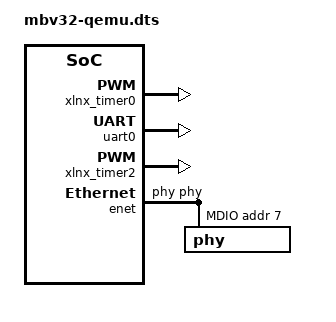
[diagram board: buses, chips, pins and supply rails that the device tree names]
// SPDX-License-Identifier: GPL-2.0
/*
 * dts file for AMD MicroBlaze V
 *
 * (C) Copyright 2024 - 2025, Advanced Micro Devices, Inc.
 *
 * Michal Simek <michal.simek@amd.com>
 */

/dts-v1/;

/ {
	cpus: cpus {
		#address-cells = <1>;
		#size-cells = <0>;
		#cpus = <1>;

		cpu_0: cpu@0 {
			compatible = "rv32-riscv-cpu";
			interrupt-controller;
			#interrupt-cells = <1>;
			reg = <0>;
			i = <1>;
			m = <1>;
			a = <1>;
			f = <1>;
			c = <1>;
			d = <0>;
			h = <0>;
			mmu = <1>;
		};
	};

	qemu_sysmem {
		#address-cells = <2>;
		#size-cells = <2>;
		compatible = "qemu:system-memory";
		interrupt-parent = <&axi_intc>;

		ram@0 {
			compatible = "qemu:memory-region";
			qemu,ram = <1>;
			reg = <0 0 0 0x8000>;
		};

		ddr@80000000 {
			compatible = "qemu:memory-region";
			qemu,ram = <1>;
			reg = <0 0x80000000 0 0x80000000>;
		};

		axi_intc: interrupt-controller@41200000 {
			compatible = "xlnx.xps-intc";
			reg = <0 0x41200000 0 0x1000>;
			interrupt-controller;
			#interrupt-cells = <2>;
			interrupts-extended = <&cpu_0 11>;
			kind-of-intr = <0x1a>;
			interrupt-names = "Outputs";
		};

		xlnx_timer0: timer@41c00000 {
			compatible = "xlnx.xps-timer";
			reg = <0 0x41c00000 0 0x1000>;
			interrupts = <0 2>;
			clock-frequency = <100000000>;
		};

		uart0: serial@40600000  {
			compatible = "xlnx,xps-uartlite";
			reg = <0 0x40600000 0 0x1000>;
			chardev = "serial0";
			interrupts = <1 2>;
		};

		xlnx_timer2: timer@41c10000 {
			compatible = "xlnx.xps-timer";
			reg = <0 0x41c10000 0 0x1000>;
			interrupts = <6 2>;
			clock-frequency = <100000000>;
		};


		enet: ethernet@40c00000 {
			axistream-connected = <&dma>;
			axistream-control-connected = <&dma>;
			compatible = "xlnx,axi-ethernet-7.1", "xlnx,axi-ethernet-1.00.a";
			interrupt-names = "interrupt";
			interrupts = <7 2>;
			reg = <0 0x40c00000 0 0x40000>;
			phy-handle = <&phy>;

			mdio {
				#address-cells = <1>;
				#size-cells = <0>;

				phy: phy@7 {
					device_type = "ethernet-phy";
					reg = <7>;
				};
			};
		};

		dma: dma@41e00000 {
			axistream-connected = <&enet>;
			axistream-control-connected = <&enet>;
			compatible = "xlnx,eth-dma";
			interrupt-names = "mm2s_introut", "s2mm_introut";
			interrupts = <8 2 9 2>;
			reg = <0 0x41e00000 0 0x10000>;
		};

		axi_gpio2: gpio@40010000 {
			compatible = "xlnx,xps-gpio-1.00.a", "xlnx,eth-dma";
			reg = <0 0x40010000 0 0x10000>;
			gpio-controller;
			interrupts = <11 2>;
			#gpio-cells = <2>;
			xlnx,all-inputs = <0>;
			xlnx,tri-default = <0xffffffff>;
			xlnx,gpio2-width = <0x20>;
			xlnx,dout-default-2 = <0>;
			xlnx,all-outputs-2 = <0>;
			xlnx,all-inputs-2 = <0>;
			xlnx,tri-default-2 = <0xffffffff>;
			xlnx,is-dual = <0>;
			xlnx,dout-default = <0>;
			xlnx,gpio-width = <2>;
			xlnx,all-outputs = <0>;
		};
	};
};
